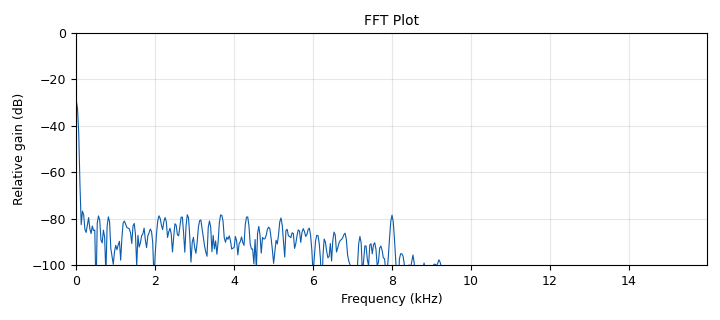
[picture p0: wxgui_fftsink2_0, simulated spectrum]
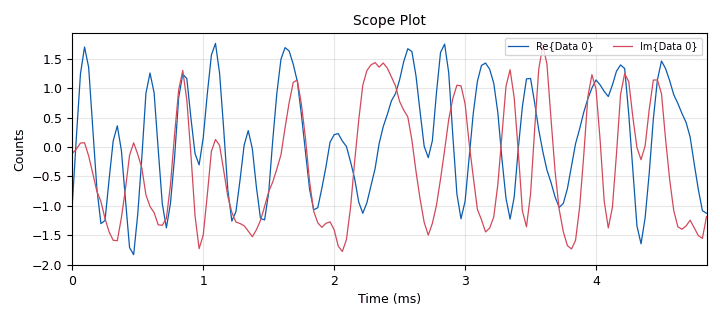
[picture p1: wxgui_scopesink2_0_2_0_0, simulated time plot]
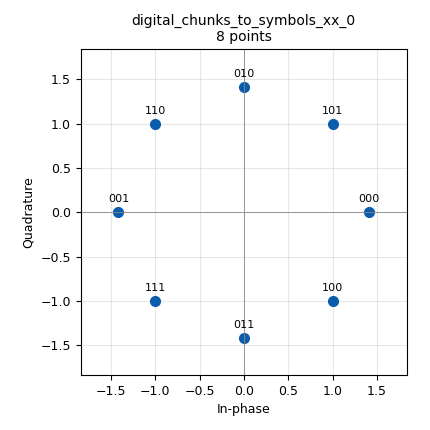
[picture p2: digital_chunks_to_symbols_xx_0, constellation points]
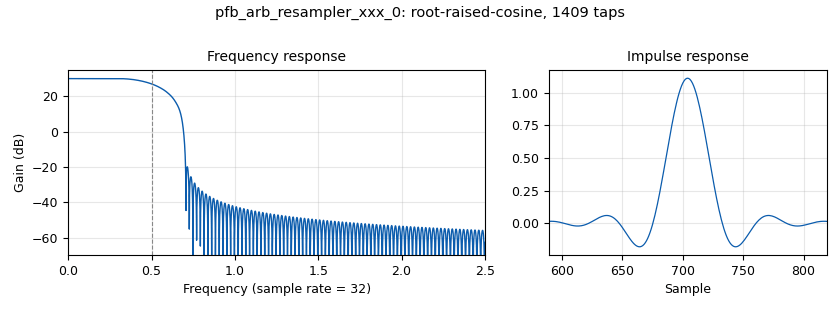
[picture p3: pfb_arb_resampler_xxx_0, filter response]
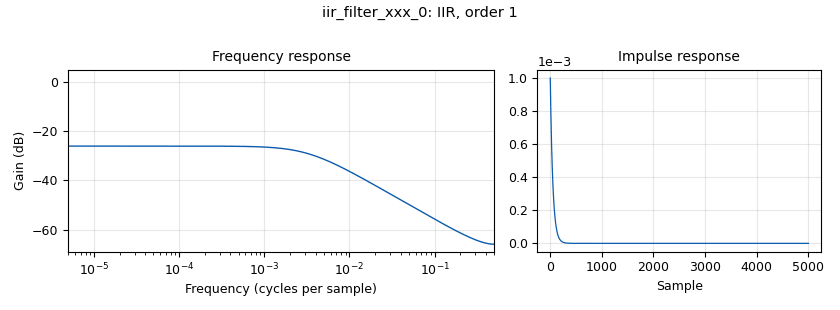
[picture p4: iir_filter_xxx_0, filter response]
<?xml version='1.0' encoding='utf-8'?>
<?grc format='1' created='3.7.9'?>
<flow_graph>
<block>
<key>options</key>
<param><key>id</key><value>top_block</value></param>
<param><key>category</key><value>Custom</value></param>
<param><key>generate_options</key><value>wx_gui</value></param>
</block>
<block>
<key>variable_slider</key>
<param><key>id</key><value>a</value></param>
<param><key>converver</key><value>float_converter</value></param>
<param><key>value</key><value>-0.5</value></param>
<param><key>label</key><value></value></param>
<param><key>max</key><value>1</value></param>
<param><key>min</key><value>-1</value></param>
<param><key>num_steps</key><value>100</value></param>
<param><key>style</key><value>wx.SL_HORIZONTAL</value></param>
</block>
<block>
<key>variable_slider</key>
<param><key>id</key><value>b</value></param>
<param><key>converver</key><value>float_converter</value></param>
<param><key>value</key><value>0.25</value></param>
<param><key>label</key><value></value></param>
<param><key>max</key><value>1</value></param>
<param><key>min</key><value>-1</value></param>
<param><key>num_steps</key><value>100</value></param>
<param><key>style</key><value>wx.SL_HORIZONTAL</value></param>
</block>
<block>
<key>variable_slider</key>
<param><key>id</key><value>c</value></param>
<param><key>converver</key><value>float_converter</value></param>
<param><key>value</key><value>-0.125</value></param>
<param><key>label</key><value></value></param>
<param><key>max</key><value>1</value></param>
<param><key>min</key><value>-1</value></param>
<param><key>num_steps</key><value>100</value></param>
<param><key>style</key><value>wx.SL_HORIZONTAL</value></param>
</block>
<block>
<key>variable_slider</key>
<param><key>id</key><value>d</value></param>
<param><key>converver</key><value>float_converter</value></param>
<param><key>value</key><value>0.0625</value></param>
<param><key>label</key><value></value></param>
<param><key>max</key><value>1</value></param>
<param><key>min</key><value>-1</value></param>
<param><key>num_steps</key><value>100</value></param>
<param><key>style</key><value>wx.SL_HORIZONTAL</value></param>
</block>
<block>
<key>variable</key>
<param><key>id</key><value>samp_rate</value></param>
<param><key>value</key><value>32000</value></param>
</block>
<block>
<key>analog_noise_source_x</key>
<param><key>id</key><value>analog_noise_source_x_0</value></param>
<param><key>amp</key><value>0.05</value></param>
<param><key>noise_type</key><value>analog.GR_GAUSSIAN</value></param>
<param><key>type</key><value>complex</value></param>
<param><key>seed</key><value>0</value></param>
</block>
<block>
<key>analog_random_source_x</key>
<param><key>id</key><value>analog_random_source_x_0</value></param>
<param><key>max</key><value>8</value></param>
<param><key>min</key><value>0</value></param>
<param><key>num_samps</key><value>1000</value></param>
<param><key>type</key><value>byte</value></param>
<param><key>repeat</key><value>True</value></param>
</block>
<block>
<key>blocks_add_const_vxx</key>
<param><key>id</key><value>blocks_add_const_vxx_0</value></param>
<param><key>const</key><value>-1</value></param>
<param><key>type</key><value>float</value></param>
</block>
<block>
<key>blocks_add_xx</key>
<param><key>id</key><value>blocks_add_xx_0</value></param>
<param><key>type</key><value>complex</value></param>
</block>
<block>
<key>blocks_add_xx</key>
<param><key>id</key><value>blocks_add_xx_0_0</value></param>
<param><key>type</key><value>complex</value></param>
</block>
<block>
<key>blocks_add_xx</key>
<param><key>id</key><value>blocks_add_xx_1</value></param>
<param><key>type</key><value>complex</value></param>
</block>
<block>
<key>blocks_add_xx</key>
<param><key>id</key><value>blocks_add_xx_1_0</value></param>
<param><key>type</key><value>complex</value></param>
</block>
<block>
<key>blocks_add_xx</key>
<param><key>id</key><value>blocks_add_xx_1_0_0</value></param>
<param><key>type</key><value>complex</value></param>
</block>
<block>
<key>blocks_add_xx</key>
<param><key>id</key><value>blocks_add_xx_1_0_1</value></param>
<param><key>type</key><value>complex</value></param>
</block>
<block>
<key>blocks_complex_to_mag_squared</key>
<param><key>id</key><value>blocks_complex_to_mag_squared_0</value></param>
</block>
<block>
<key>blocks_delay</key>
<param><key>id</key><value>blocks_delay_0</value></param>
<param><key>delay</key><value>1</value></param>
<param><key>type</key><value>complex</value></param>
</block>
<block>
<key>blocks_delay</key>
<param><key>id</key><value>blocks_delay_1</value></param>
<param><key>delay</key><value>1</value></param>
<param><key>type</key><value>complex</value></param>
</block>
<block>
<key>blocks_delay</key>
<param><key>id</key><value>blocks_delay_1_0</value></param>
<param><key>delay</key><value>1</value></param>
<param><key>type</key><value>complex</value></param>
</block>
<block>
<key>blocks_delay</key>
<param><key>id</key><value>blocks_delay_1_0_0</value></param>
<param><key>delay</key><value>1</value></param>
<param><key>type</key><value>complex</value></param>
</block>
<block>
<key>blocks_delay</key>
<param><key>id</key><value>blocks_delay_1_0_1</value></param>
<param><key>delay</key><value>1</value></param>
<param><key>type</key><value>complex</value></param>
</block>
<block>
<key>blocks_multiply_const_vxx</key>
<param><key>id</key><value>blocks_multiply_const_vxx_0</value></param>
<param><key>const</key><value>0.5</value></param>
<param><key>type</key><value>complex</value></param>
</block>
<block>
<key>blocks_multiply_const_vxx</key>
<param><key>id</key><value>blocks_multiply_const_vxx_0_0</value></param>
<param><key>const</key><value>a</value></param>
<param><key>type</key><value>complex</value></param>
</block>
<block>
<key>blocks_multiply_const_vxx</key>
<param><key>id</key><value>blocks_multiply_const_vxx_0_0_0</value></param>
<param><key>const</key><value>b</value></param>
<param><key>type</key><value>complex</value></param>
</block>
<block>
<key>blocks_multiply_const_vxx</key>
<param><key>id</key><value>blocks_multiply_const_vxx_0_0_0_0</value></param>
<param><key>const</key><value>d</value></param>
<param><key>type</key><value>complex</value></param>
</block>
<block>
<key>blocks_multiply_const_vxx</key>
<param><key>id</key><value>blocks_multiply_const_vxx_0_0_0_1</value></param>
<param><key>const</key><value>c</value></param>
<param><key>type</key><value>complex</value></param>
</block>
<block>
<key>blocks_throttle</key>
<param><key>id</key><value>blocks_throttle_0</value></param>
<param><key>samples_per_second</key><value>samp_rate</value></param>
<param><key>type</key><value>float</value></param>
</block>
<block>
<key>import</key>
<param><key>id</key><value>digital</value></param>
<param><key>import</key><value>from gnuradio import digital </value></param>
</block>
<block>
<key>digital_chunks_to_symbols_xx</key>
<param><key>id</key><value>digital_chunks_to_symbols_xx_0</value></param>
<param><key>dimension</key><value>1</value></param>
<param><key>in_type</key><value>byte</value></param>
<param><key>out_type</key><value>complex</value></param>
<param><key>symbol_table</key><value>((1.414+0j),(-1.414+0j),(0+1.414j),(0-1.414j),(1-1j),(1+1j),(-1+1j),(-1-1j))</value></param>
</block>
<block>
<key>import</key>
<param><key>id</key><value>filt</value></param>
<param><key>import</key><value>from gnuradio import filter</value></param>
</block>
<block>
<key>iir_filter_xxx</key>
<param><key>id</key><value>iir_filter_xxx_0</value></param>
<param><key>fftaps</key><value>[0.001]</value></param>
<param><key>fbtaps</key><value>[1,0.98]</value></param>
<param><key>type</key><value>ffd</value></param>
</block>
<block>
<key>pfb_arb_resampler_xxx</key>
<param><key>id</key><value>pfb_arb_resampler_xxx_0</value></param>
<param><key>nfilts</key><value>32</value></param>
<param><key>rrate</key><value>4</value></param>
<param><key>atten</key><value>100</value></param>
<param><key>taps</key><value>firdes.root_raised_cosine(32,32,1.0,0.4,11*32*4)</value></param>
<param><key>type</key><value>ccf</value></param>
</block>
<block>
<key>import</key>
<param><key>id</key><value>pi</value></param>
<param><key>import</key><value>from math import pi</value></param>
</block>
<block>
<key>wxgui_fftsink2</key>
<param><key>id</key><value>wxgui_fftsink2_0</value></param>
<param><key>avg_alpha</key><value>0</value></param>
<param><key>average</key><value>False</value></param>
<param><key>baseband_freq</key><value>0</value></param>
<param><key>fft_size</key><value>1024</value></param>
<param><key>freqvar</key><value>None</value></param>
<param><key>peak_hold</key><value>False</value></param>
<param><key>ref_level</key><value>0</value></param>
<param><key>ref_scale</key><value>2.0</value></param>
<param><key>fft_rate</key><value>15</value></param>
<param><key>samp_rate</key><value>samp_rate</value></param>
<param><key>title</key><value>FFT Plot</value></param>
<param><key>type</key><value>float</value></param>
<param><key>win</key><value>None</value></param>
<param><key>y_divs</key><value>10</value></param>
<param><key>y_per_div</key><value>10</value></param>
</block>
<block>
<key>wxgui_scopesink2</key>
<param><key>id</key><value>wxgui_scopesink2_0_0</value></param>
<param><key>ac_couple</key><value>True</value></param>
<param><key>_enabled</key><value>0</value></param>
<param><key>num_inputs</key><value>1</value></param>
<param><key>samp_rate</key><value>samp_rate</value></param>
<param><key>t_scale</key><value>0</value></param>
<param><key>title</key><value>Scope Plot</value></param>
<param><key>trig_mode</key><value>wxgui.TRIG_MODE_AUTO</value></param>
<param><key>type</key><value>complex</value></param>
<param><key>v_offset</key><value>0</value></param>
<param><key>v_scale</key><value>0</value></param>
<param><key>xy_mode</key><value>False</value></param>
<param><key>y_axis_label</key><value>Counts</value></param>
</block>
<block>
<key>wxgui_scopesink2</key>
<param><key>id</key><value>wxgui_scopesink2_0_2</value></param>
<param><key>ac_couple</key><value>True</value></param>
<param><key>_enabled</key><value>0</value></param>
<param><key>num_inputs</key><value>1</value></param>
<param><key>samp_rate</key><value>samp_rate</value></param>
<param><key>t_scale</key><value>0</value></param>
<param><key>title</key><value>Scope Plot</value></param>
<param><key>trig_mode</key><value>wxgui.TRIG_MODE_AUTO</value></param>
<param><key>type</key><value>complex</value></param>
<param><key>v_offset</key><value>0</value></param>
<param><key>v_scale</key><value>0</value></param>
<param><key>xy_mode</key><value>False</value></param>
<param><key>y_axis_label</key><value>Counts</value></param>
</block>
<block>
<key>wxgui_scopesink2</key>
<param><key>id</key><value>wxgui_scopesink2_0_2_0</value></param>
<param><key>ac_couple</key><value>True</value></param>
<param><key>_enabled</key><value>0</value></param>
<param><key>num_inputs</key><value>1</value></param>
<param><key>samp_rate</key><value>samp_rate</value></param>
<param><key>t_scale</key><value>0</value></param>
<param><key>title</key><value>Scope Plot</value></param>
<param><key>trig_mode</key><value>wxgui.TRIG_MODE_AUTO</value></param>
<param><key>type</key><value>complex</value></param>
<param><key>v_offset</key><value>0</value></param>
<param><key>v_scale</key><value>0</value></param>
<param><key>xy_mode</key><value>False</value></param>
<param><key>y_axis_label</key><value>Counts</value></param>
</block>
<block>
<key>wxgui_scopesink2</key>
<param><key>id</key><value>wxgui_scopesink2_0_2_0_0</value></param>
<param><key>ac_couple</key><value>True</value></param>
<param><key>num_inputs</key><value>1</value></param>
<param><key>samp_rate</key><value>samp_rate</value></param>
<param><key>t_scale</key><value>0</value></param>
<param><key>title</key><value>Scope Plot</value></param>
<param><key>trig_mode</key><value>wxgui.TRIG_MODE_AUTO</value></param>
<param><key>type</key><value>complex</value></param>
<param><key>v_offset</key><value>0</value></param>
<param><key>v_scale</key><value>0</value></param>
<param><key>xy_mode</key><value>False</value></param>
<param><key>y_axis_label</key><value>Counts</value></param>
</block>
<block>
<key>wxgui_scopesink2</key>
<param><key>id</key><value>wxgui_scopesink2_0_2_0_0_0</value></param>
<param><key>ac_couple</key><value>True</value></param>
<param><key>_enabled</key><value>0</value></param>
<param><key>num_inputs</key><value>1</value></param>
<param><key>samp_rate</key><value>samp_rate</value></param>
<param><key>t_scale</key><value>0</value></param>
<param><key>title</key><value>Scope Plot</value></param>
<param><key>trig_mode</key><value>wxgui.TRIG_MODE_AUTO</value></param>
<param><key>type</key><value>complex</value></param>
<param><key>v_offset</key><value>0</value></param>
<param><key>v_scale</key><value>0</value></param>
<param><key>xy_mode</key><value>False</value></param>
<param><key>y_axis_label</key><value>Counts</value></param>
</block>
<connection><source_block_id>analog_noise_source_x_0</source_block_id><sink_block_id>blocks_add_xx_0</sink_block_id><source_key>0</source_key><sink_key>1</sink_key></connection>
<connection><source_block_id>analog_random_source_x_0</source_block_id><sink_block_id>digital_chunks_to_symbols_xx_0</sink_block_id><source_key>0</source_key><sink_key>0</sink_key></connection>
<connection><source_block_id>blocks_add_const_vxx_0</source_block_id><sink_block_id>iir_filter_xxx_0</sink_block_id><source_key>0</source_key><sink_key>0</sink_key></connection>
<connection><source_block_id>blocks_add_xx_0</source_block_id><sink_block_id>blocks_add_xx_0_0</sink_block_id><source_key>0</source_key><sink_key>0</sink_key></connection>
<connection><source_block_id>blocks_add_xx_0</source_block_id><sink_block_id>blocks_delay_0</sink_block_id><source_key>0</source_key><sink_key>0</sink_key></connection>
<connection><source_block_id>blocks_add_xx_0_0</source_block_id><sink_block_id>blocks_add_xx_1</sink_block_id><source_key>0</source_key><sink_key>1</sink_key></connection>
<connection><source_block_id>blocks_add_xx_0_0</source_block_id><sink_block_id>blocks_delay_1</sink_block_id><source_key>0</source_key><sink_key>0</sink_key></connection>
<connection><source_block_id>blocks_add_xx_0_0</source_block_id><sink_block_id>wxgui_scopesink2_0_2_0</sink_block_id><source_key>0</source_key><sink_key>0</sink_key></connection>
<connection><source_block_id>blocks_add_xx_1</source_block_id><sink_block_id>blocks_add_xx_1_0</sink_block_id><source_key>0</source_key><sink_key>1</sink_key></connection>
<connection><source_block_id>blocks_add_xx_1_0</source_block_id><sink_block_id>blocks_add_xx_1_0_1</sink_block_id><source_key>0</source_key><sink_key>1</sink_key></connection>
<connection><source_block_id>blocks_add_xx_1_0_0</source_block_id><sink_block_id>blocks_complex_to_mag_squared_0</sink_block_id><source_key>0</source_key><sink_key>0</sink_key></connection>
<connection><source_block_id>blocks_add_xx_1_0_0</source_block_id><sink_block_id>wxgui_scopesink2_0_2_0_0</sink_block_id><source_key>0</source_key><sink_key>0</sink_key></connection>
<connection><source_block_id>blocks_add_xx_1_0_1</source_block_id><sink_block_id>blocks_add_xx_1_0_0</sink_block_id><source_key>0</source_key><sink_key>1</sink_key></connection>
<connection><source_block_id>blocks_complex_to_mag_squared_0</source_block_id><sink_block_id>blocks_add_const_vxx_0</sink_block_id><source_key>0</source_key><sink_key>0</sink_key></connection>
<connection><source_block_id>blocks_delay_0</source_block_id><sink_block_id>blocks_multiply_const_vxx_0</sink_block_id><source_key>0</source_key><sink_key>0</sink_key></connection>
<connection><source_block_id>blocks_delay_1</source_block_id><sink_block_id>blocks_delay_1_0</sink_block_id><source_key>0</source_key><sink_key>0</sink_key></connection>
<connection><source_block_id>blocks_delay_1</source_block_id><sink_block_id>blocks_multiply_const_vxx_0_0</sink_block_id><source_key>0</source_key><sink_key>0</sink_key></connection>
<connection><source_block_id>blocks_delay_1_0</source_block_id><sink_block_id>blocks_delay_1_0_0</sink_block_id><source_key>0</source_key><sink_key>0</sink_key></connection>
<connection><source_block_id>blocks_delay_1_0</source_block_id><sink_block_id>blocks_multiply_const_vxx_0_0_0</sink_block_id><source_key>0</source_key><sink_key>0</sink_key></connection>
<connection><source_block_id>blocks_delay_1_0_0</source_block_id><sink_block_id>blocks_delay_1_0_1</sink_block_id><source_key>0</source_key><sink_key>0</sink_key></connection>
<connection><source_block_id>blocks_delay_1_0_0</source_block_id><sink_block_id>blocks_multiply_const_vxx_0_0_0_1</sink_block_id><source_key>0</source_key><sink_key>0</sink_key></connection>
<connection><source_block_id>blocks_delay_1_0_1</source_block_id><sink_block_id>blocks_multiply_const_vxx_0_0_0_0</sink_block_id><source_key>0</source_key><sink_key>0</sink_key></connection>
<connection><source_block_id>blocks_multiply_const_vxx_0</source_block_id><sink_block_id>blocks_add_xx_0_0</sink_block_id><source_key>0</source_key><sink_key>1</sink_key></connection>
<connection><source_block_id>blocks_multiply_const_vxx_0_0</source_block_id><sink_block_id>blocks_add_xx_1</sink_block_id><source_key>0</source_key><sink_key>0</sink_key></connection>
<connection><source_block_id>blocks_multiply_const_vxx_0_0_0</source_block_id><sink_block_id>blocks_add_xx_1_0</sink_block_id><source_key>0</source_key><sink_key>0</sink_key></connection>
<connection><source_block_id>blocks_multiply_const_vxx_0_0_0_0</source_block_id><sink_block_id>blocks_add_xx_1_0_0</sink_block_id><source_key>0</source_key><sink_key>0</sink_key></connection>
<connection><source_block_id>blocks_multiply_const_vxx_0_0_0_1</source_block_id><sink_block_id>blocks_add_xx_1_0_1</sink_block_id><source_key>0</source_key><sink_key>0</sink_key></connection>
<connection><source_block_id>blocks_throttle_0</source_block_id><sink_block_id>wxgui_fftsink2_0</sink_block_id><source_key>0</source_key><sink_key>0</sink_key></connection>
<connection><source_block_id>digital_chunks_to_symbols_xx_0</source_block_id><sink_block_id>pfb_arb_resampler_xxx_0</sink_block_id><source_key>0</source_key><sink_key>0</sink_key></connection>
<connection><source_block_id>digital_chunks_to_symbols_xx_0</source_block_id><sink_block_id>wxgui_scopesink2_0_0</sink_block_id><source_key>0</source_key><sink_key>0</sink_key></connection>
<connection><source_block_id>iir_filter_xxx_0</source_block_id><sink_block_id>blocks_throttle_0</sink_block_id><source_key>0</source_key><sink_key>0</sink_key></connection>
<connection><source_block_id>iir_filter_xxx_0</source_block_id><sink_block_id>wxgui_scopesink2_0_2_0_0_0</sink_block_id><source_key>0</source_key><sink_key>0</sink_key></connection>
<connection><source_block_id>pfb_arb_resampler_xxx_0</source_block_id><sink_block_id>blocks_add_xx_0</sink_block_id><source_key>0</source_key><sink_key>0</sink_key></connection>
<connection><source_block_id>pfb_arb_resampler_xxx_0</source_block_id><sink_block_id>wxgui_scopesink2_0_2</sink_block_id><source_key>0</source_key><sink_key>0</sink_key></connection>
</flow_graph>
